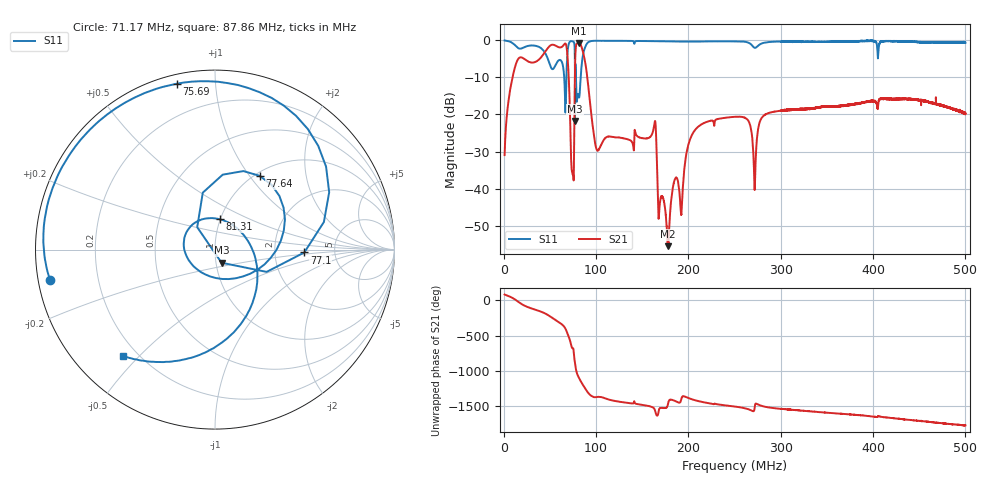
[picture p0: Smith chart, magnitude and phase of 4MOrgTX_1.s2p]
! NanoVNA-App
! Date: 2026-08-18 20:33:03
! Start: 1MHz Stop: 500MHz Points: 6401
! S-Parameter data: F S11 S21 S12 S22
# Hz S RI R 50
!  Frequency  S11_Real  S11_Imag  S21_Real  S21_Imag  S12_Real  S12_Imag  S22_Real  S22_Imag
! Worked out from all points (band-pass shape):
!   6401 points, 1 MHz to 500 MHz, reference 50 ohm
!   highest |S21| = -0.80 dB at 81.39 MHz (marker M1); lowest = -55.5 dB at 178 MHz (marker M2)
!   |S21| within 3 dB of the highest: 43.07 MHz to 68.92 MHz (25.84 MHz wide, 46.1 % of centre); 77.62 MHz to 86.48 MHz (8.855 MHz wide, 10.8 % of centre)
!   lowest |S11| = -21.8 dB at 77.25 MHz (marker M3), VSWR 1.18, Z = 53.2 - j7.83 ohm
!   |S11| at or under -10 dB: 65.52 MHz to 67.89 MHz (2.363 MHz wide, 3.54 % of centre); 77.17385 MHz to 77.40654 MHz (232.7 kHz wide, 0.301 % of centre); 78.26 MHz to 83.38 MHz (5.121 MHz wide, 6.34 % of centre)
!   S12 and S22 are empty: the file has one direction only
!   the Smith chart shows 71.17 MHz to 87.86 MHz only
!   S11 on the Smith chart (normalised r, x): 71.17 MHz: 0.03, -0.09; 75.69 MHz: 0.04, +0.79; 77.1 MHz: 2.98, -0.13; 77.64 MHz: 1.05, +1.12; 81.31 MHz: 1.00, +0.35; 87.86 MHz: 0.15, -0.45
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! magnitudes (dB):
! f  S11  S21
! 1 MHz  -0.1  -31.0
! 17.3 MHz  -2.3  -4.7
! 66.03 MHz  -12.4  -1.0
! 71.17 MHz  -0.6  -14.6
! 75.69 MHz  -0.5  -37.6
! 77.1 MHz  -6.1  -11.2
! 77.25 MHz  -21.8  -8.4
! 77.64 MHz  -6.4  -3.7
! 81.31 MHz  -15.3  -0.8
! 81.39 MHz  -15.4  -0.8
! 84.19 MHz  -7.4  -1.7
! 87.86 MHz  -2.1  -5.4
! 101 MHz  -0.2  -29.6
! 162.6 MHz  -0.3  -23.4
! 167.4 MHz  -0.3  -46.3
! 178 MHz  -0.3  -55.5
! 205.2 MHz  -0.4  -24.9
! 250.5 MHz  -0.3  -20.6
! 271.8 MHz  -2.1  -40.4
! 333.7 MHz  -0.4  -18.4
! 416.9 MHz  -0.2  -15.8
! 500 MHz  -0.7  -19.9
